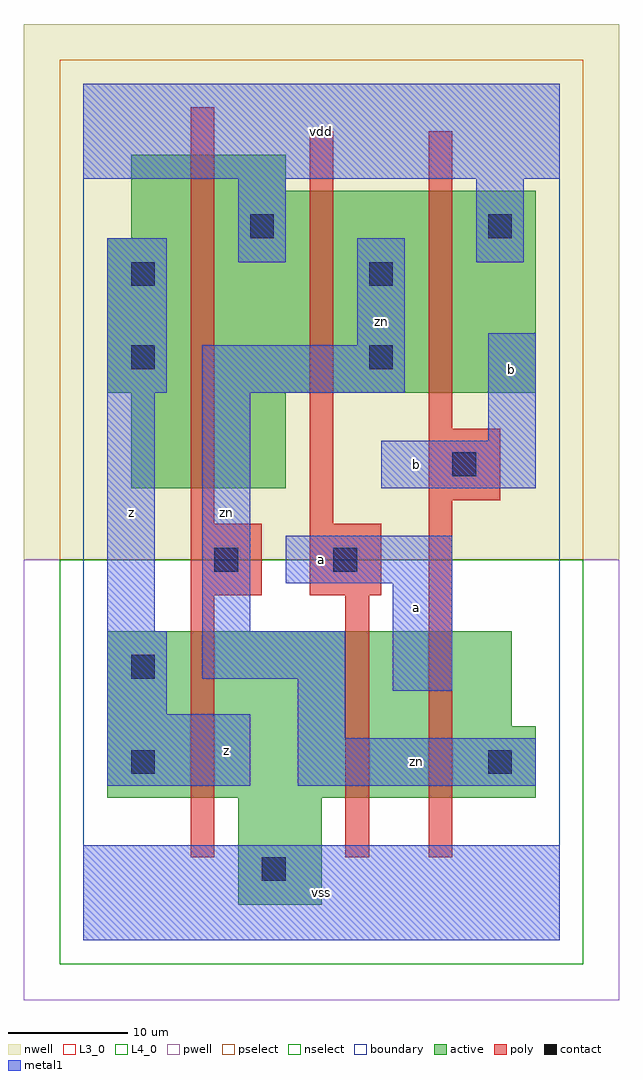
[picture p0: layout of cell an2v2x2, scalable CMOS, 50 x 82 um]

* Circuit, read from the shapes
.subckt an2v2x2 a b vdd vss z zn
M1 vss zn z VSUBS nfet w=14u l=2u
M2 n1 a vss VSUBS nfet w=14u l=2u
M3 zn b n1 VSUBS nfet w=14u l=2u
M4 vdd zn z n2 pfet w=28u l=2u
M5 zn a vdd n2 pfet w=17u l=2u
M6 vdd b zn n2 pfet w=17u l=2u
.ends

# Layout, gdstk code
import gdstk
lib = gdstk.Library(unit=1e-6, precision=1e-09)
def R(c, l, rs):  # rectangles x0, y0, x1, y1
    for r in rs: c.add(gdstk.rectangle(r[:2], r[2:], *l))
L3_0 = (3, 0)
L4_0 = (4, 0)
contact = (25, 0)
pwell = (41, 0)
nwell = (42, 0)
active = (43, 0)
pselect = (44, 0)
nselect = (45, 0)
poly = (46, 0)
metal1 = (49, 0)
boundary = (63, 0)

an2v2x2 = lib.new_cell('an2v2x2')
R(an2v2x2, L3_0, [(13,3,20,12), (2,12,38,18), (2,18,36,26)])
R(an2v2x2, L4_0, [(4,38,17,46), (2,46,38,59), (4,59,38,63), (4,63,17,66)])
R(an2v2x2, contact, [(15,5,17,7), (4,14,6,16), (34,14,36,16), (4,22,6,24), (11,31,13,33), (21,31,23,33), (31,39,33,41), (4,48,6,50), (24,48,26,50), (4,55,6,57), (24,55,26,57), (14,59,16,61), (34,59,36,61)])
R(an2v2x2, pwell, [(-5,-5,45,32)])
R(an2v2x2, nwell, [(-5,32,45,77)])
R(an2v2x2, active, [(13,3,20,12), (2,12,38,18), (2,18,36,26), (4,38,17,46), (2,46,38,59), (4,59,38,63), (4,63,17,66)])
R(an2v2x2, pselect, [(-2,32,42,74)])
R(an2v2x2, nselect, [(-2,-2,42,32)])
R(an2v2x2, poly, [(9,7,11,29), (22,7,24,29), (29,7,31,37), (9,29,15,35), (19,29,25,35), (9,35,11,70), (19,35,21,68), (29,37,35,43), (29,43,31,68)])
R(an2v2x2, metal1, [(0,0,40,8), (2,13,14,19), (18,13,38,17), (18,17,22,22), (2,19,7,26), (26,21,31,30), (10,22,22,26), (2,26,6,46), (10,26,14,46), (17,30,31,34), (25,38,38,42), (34,42,38,51), (2,46,7,59), (10,46,27,50), (23,50,27,59), (13,57,17,64), (33,57,37,64), (0,64,40,72)])
R(an2v2x2, boundary, [(0,0,40,72)])
an2v2x2.add(gdstk.Label('zn', (12,36), layer=49, texttype=0))
an2v2x2.add(gdstk.Label('zn', (28,15), layer=49, texttype=0))
an2v2x2.add(gdstk.Label('zn', (25,52), layer=49, texttype=0))
an2v2x2.add(gdstk.Label('z', (4,36), layer=49, texttype=0))
an2v2x2.add(gdstk.Label('z', (12,16), layer=49, texttype=0))
an2v2x2.add(gdstk.Label('vss', (20,4), layer=49, texttype=0))
an2v2x2.add(gdstk.Label('a', (20,32), layer=49, texttype=0))
an2v2x2.add(gdstk.Label('a', (28,28), layer=49, texttype=0))
an2v2x2.add(gdstk.Label('b', (28,40), layer=49, texttype=0))
an2v2x2.add(gdstk.Label('vdd', (20,68), layer=49, texttype=0))
an2v2x2.add(gdstk.Label('b', (36,48), layer=49, texttype=0))

lib.write_gds('an2v2x2.gds')
